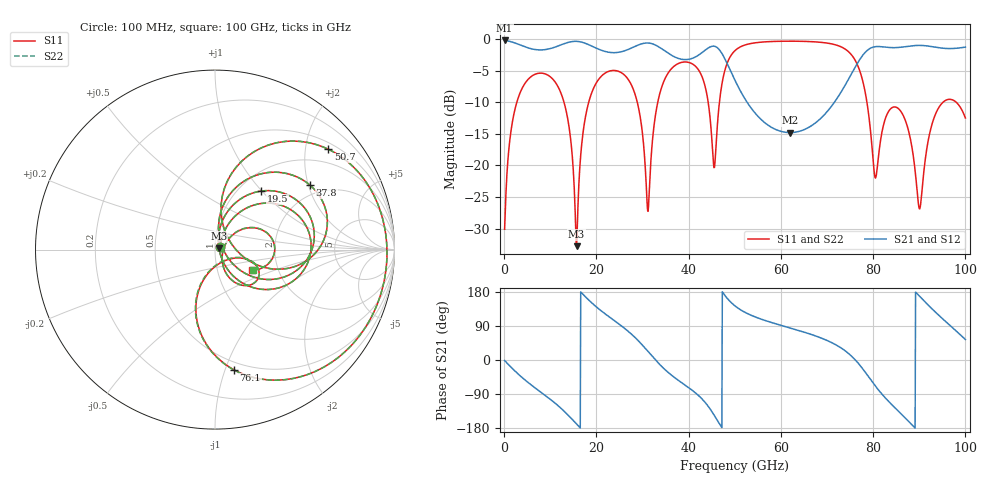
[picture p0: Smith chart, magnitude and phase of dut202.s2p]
! Touchstone file exported from HFSS 2026.1.0
!  File:  C:/ffzhzh/LocalFiles/Ansys_Project_Files/temp_train_TSV_RDL_202_1783658623_33328.aedt
!  Generated:  01:00:14 PM Jul 10, 2026
!  Design:  TSV_RDL
!  Project:  temp_train_TSV_RDL_202_1783658623_33328
! Variables:
!  h_bsmrdl = 3.01um
!  h_ox = 20um
!  h_rdl = 5um
!  h_sub = 94.87um
!  h_tmrdl = 2.18um
!  h_tsv = 94.87um
!  h_via = 3um
!  l_bsmrdl = 101.03um
!  l_sub = 3250.81um
!  l_tmrdl = 611.82um
!  m_sub = 200um
!  pitch = 47.63um
!  r_tsv = 11.09um
!  s_tmrdl = 10um
!  w_bsmrdl = 17.97um
!  w_sub = 500um
!  w_tmrdl = 15.51um
!  x_tsv_center1 = 619.575um
!  x_tsv_center2 = 738.575um
!  x_tsv_center3 = 1365.905um
!  x_tsv_center4 = 1484.905um
!  x_tsv_center5 = 2112.235um
!  x_tsv_center6 = 2231.235um
# GHz S MA R 50.000000
! Terminal data exported
! Port[1] = TM_RDL1_1_T1
! Port[2] = TM_RDL5_1_T1
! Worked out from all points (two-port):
!   1000 points, 100 MHz to 100 GHz, reference 50 ohm
!   highest |S21| = -0.25 dB at 100 MHz (marker M1); lowest = -14.8 dB at 62 GHz (marker M2)
!   |S21| within 3 dB of the highest: start of sweep to 38.72 GHz; 77.12 GHz to end of sweep (the widest 2 of 3)
!   lowest |S11| = -32.8 dB at 15.7 GHz (marker M3), VSWR 1.05, Z = 52.3 + j0.665 ohm
!   |S11| at or under -10 dB: 12.97 GHz to 18.34 GHz (5.37 GHz wide, 34.3 % of centre); 28.86 GHz to 33.31 GHz (4.445 GHz wide, 14.3 % of centre); 78.65 GHz to 95.17 GHz (16.52 GHz wide, 19 % of centre) (the widest 3 of 6)
!   |S22| runs from -32.8 to -0.4 dB; largest |S21 - S12| = 1.6e-12
!   S11 on the Smith chart (normalised r, x): 100 MHz: 1.06, +0.03; 19.5 GHz: 1.26, +0.99; 37.8 GHz: 1.69, +2.05; 50.7 GHz: 0.64, +2.49; 76.1 GHz: 0.43, -1.07; 100 GHz: 1.47, -0.36
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0.1  0.0313 24.6  0.9718 -1.3  0.9718 -1.3  0.0313 24.6
! Gamma 0 0 0 0
! Port Impedance 50 0 50 0
2.5  0.2926 52.6  0.9235 -30.9  0.9235 -30.9  0.2926 52.6
7.9  0.5363 3.8  0.818 -84.4  0.818 -84.4  0.5363 3.8
13.1  0.3039 -44.5  0.9187 -136.3  0.9187 -136.3  0.3038 -44.5
15.7  0.02301 16.0  0.9561 -168.8  0.9561 -168.8  0.02291 16.1
16.8  0.145 76.6  0.9427 177.0  0.9427 177.0  0.145 76.6
19.5  0.4158 51.7  0.86 145.3  0.86 145.3  0.4159 51.7
27.5  0.4389 -18.5  0.8435 69.4  0.8435 69.4  0.4389 -18.6
31.2  0.04336 27.7  0.9278 22.4  0.9278 22.4  0.04251 27.9
33.4  0.3282 74.3  0.8698 -7.7  0.8698 -7.7  0.328 74.4
37.8  0.6396 34.2  0.7002 -54.0  0.7002 -54.0  0.6395 34.2
45.5  0.0959 25.0  0.8754 -145.0  0.8754 -145.0  0.09506 25.0
50.1  0.811 46.3  0.4664 142.3  0.4664 142.3  0.8109 46.3
50.7  0.8433 41.5  0.4215 136.9  0.4215 136.9  0.8433 41.6
62  0.9592 -5.9  0.1817 84.5  0.1817 84.5  0.9591 -5.9
66.7  0.9506 -21.9  0.2067 67.0  0.2067 67.0  0.9505 -21.9
76.1  0.6777 -81.1  0.5969 0.6  0.5969 0.6  0.6775 -81.2
80.5  0.07947 -61.8  0.868 -69.0  0.868 -69.0  0.07621 -61.8
83.4  0.2691 -25.3  0.8552 -109.8  0.8552 -109.8  0.2685 -24.8
90.2  0.04674 0.1  0.8881 166.6  0.8881 166.6  0.04608 0.7
94  0.2769 24.1  0.854 120.6  0.854 120.6  0.2767 24.6
100  0.237 -28.9  0.861 54.0  0.861 54.0  0.2371 -28.1
